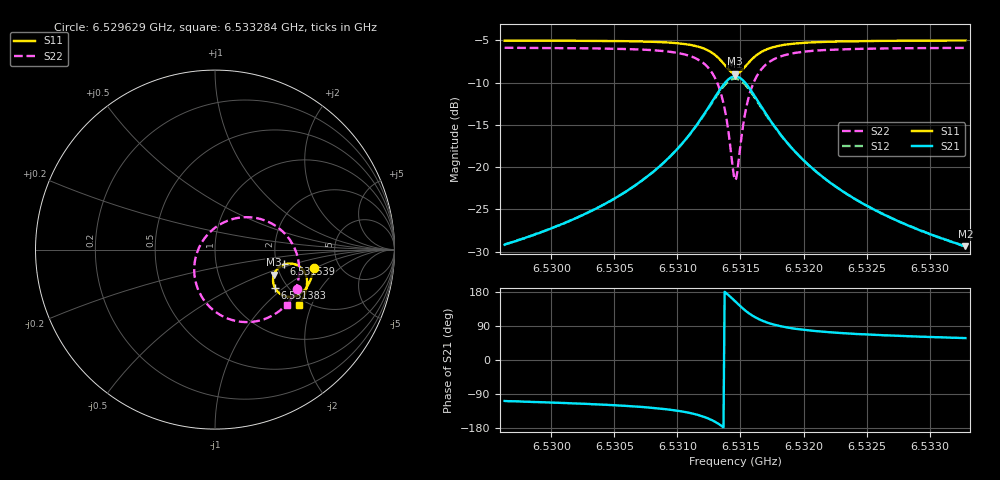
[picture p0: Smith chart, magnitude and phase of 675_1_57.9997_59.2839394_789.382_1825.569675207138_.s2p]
#  HZ  S  RI  R  50.00
! Rohde & Schwarz Vector Network Analyzer
! Rohde-Schwarz,ZNB20-2Port,1311601062101988,3.16
! Created: UTC 3/21/2024, 1:20:37 AM
! freq[Hz]  re:S11  im:S11  re:S21  im:S21  re:S12  im:S12  re:S22  im:S22
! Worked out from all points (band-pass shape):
!   401 points, 6.529629 GHz to 6.533284 GHz, reference 50 ohm
!   highest |S21| = -9.26 dB at 6.531456 GHz (marker M1); lowest = -29.3 dB at 6.533284 GHz (marker M2)
!   |S21| within 3 dB of the highest: 6.531275 GHz to 6.53164 GHz (365.7 kHz wide, 0.0056 % of centre)
!   lowest |S11| = -9.0 dB at 6.531456 GHz (marker M3), VSWR 2.11, Z = 92.7 - j29.7 ohm
!   |S11| at or under -10 dB: nowhere
!   |S22| runs from -21.5 to -5.9 dB; largest |S21 - S12| = 0.014
!   S11 on the Smith chart (normalised r, x): 6.529629 GHz: 3.23, -0.97; 6.531383 GHz: 1.72, -0.87; 6.531539 GHz: 2.20, -0.43; 6.533284 GHz: 1.83, -1.64
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6.5296293e9  0.5508 -0.1028  -0.0108 -0.0331  -0.0116 -0.033  0.4576 -0.2212
6.5302414e9  0.5372 -0.1548  -0.0222 -0.0468  -0.0233 -0.0463  0.421 -0.2794
6.5305794e9  0.5238 -0.1874  -0.0364 -0.0607  -0.0381 -0.0598  0.384 -0.3205
6.5308535e9  0.5044 -0.2187  -0.0616 -0.0791  -0.0641 -0.0773  0.3274 -0.363
6.5310727e9  0.4717 -0.2483  -0.1103 -0.0993  -0.1133 -0.0951  0.2305 -0.3991
6.531228e9  0.4204 -0.2637  -0.1902 -0.1002  -0.192 -0.0917  0.0864 -0.3897
6.5313194e9  0.3695 -0.2505  -0.2683 -0.0612  -0.2652 -0.0495  -0.04 -0.308
6.5313559e9  0.3475 -0.2326  -0.3002 -0.0241  -0.2938 -0.0124  -0.0863 -0.2396
6.5313833e9  0.3336 -0.2127  -0.3189 0.0143  -0.3097 0.0248  -0.1094 -0.1726
6.5314382e9  0.324 -0.1589  -0.324 0.1111  -0.3108 0.1162  -0.0989 -0.0133
6.5314564e9  0.3283 -0.1398  -0.3129 0.1443  -0.2993 0.1468  -0.0747 0.0384
6.5314747e9  0.3367 -0.1221  -0.2953 0.1744  -0.2822 0.1747  -0.0405 0.0845
6.5315204e9  0.3702 -0.0894  -0.2327 0.2285  -0.2229 0.2245  0.0713 0.1612
6.5315386e9  0.3858 -0.0824  -0.2044 0.24  -0.1963 0.2353  0.1195 0.1752
6.5315661e9  0.409 -0.0775  -0.1633 0.2473  -0.1576 0.2425  0.1884 0.1805
6.5316026e9  0.4365 -0.0795  -0.1161 0.2441  -0.1123 0.2396  0.2669 0.1664
6.531694e9  0.4814 -0.1033  -0.04 0.2072  -0.0384 0.2048  0.3898 0.0882
6.531831e9  0.507 -0.1433  0.00445 0.1514  0.00563 0.1506  0.4548 -0.0221
6.5320685e9  0.5131 -0.1906  0.022 0.0962  0.023 0.0958  0.4684 -0.1343
6.5323517e9  0.5067 -0.2275  0.0234 0.0645  0.0244 0.0644  0.4553 -0.2046
6.5326806e9  0.4952 -0.2595  0.0216 0.0459  0.0225 0.0454  0.4355 -0.2538
6.5332835e9  0.4707 -0.3063  0.0182 0.0289  0.0188 0.0285  0.4007 -0.3114
